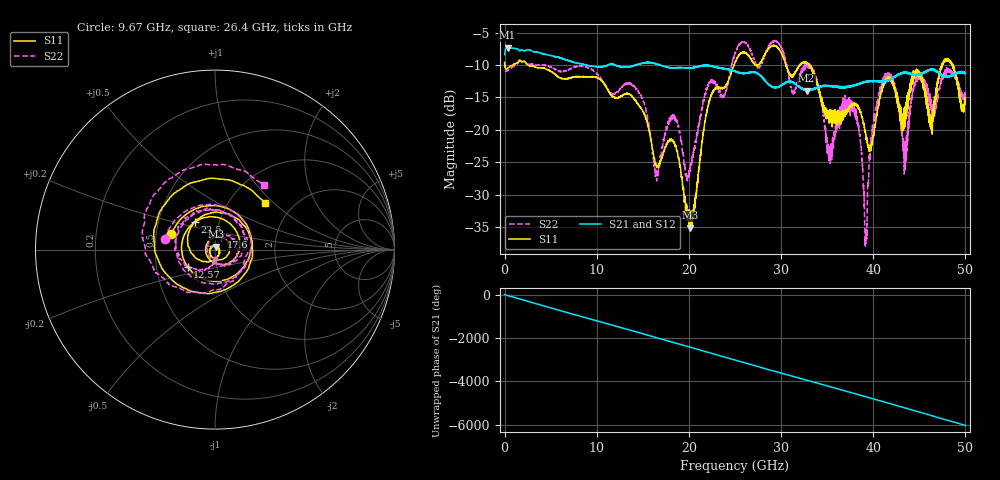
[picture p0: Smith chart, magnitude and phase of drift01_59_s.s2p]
!Created with skrf (http://scikit-rf.org).
# Hz S RI R 50.0
!freq ReS11 ImS11 ReS21 ImS21 ReS12 ImS12 ReS22 ImS22
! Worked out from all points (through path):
!   10001 points, 300 kHz to 50 GHz, reference 50 ohm
!   highest |S21| = -7.32 dB at 325.3 MHz (marker M1); lowest = -13.9 dB at 32.77 GHz (marker M2)
!   group delay of S21, straight-line fit = 335 ps
!   lowest |S11| = -35.1 dB at 20.15 GHz (marker M3), VSWR 1.04, Z = 50.7 + j1.64 ohm
!   |S11| at or under -10 dB: 2.558 GHz to 24.9 GHz (22.34 GHz wide, 163 % of centre); 30.53 GHz to 32.02 GHz (1.487 GHz wide, 4.75 % of centre); 33.08 GHz to 47.45 GHz (14.38 GHz wide, 35.7 % of centre) (the widest 3 of 17)
!   |S22| runs from -37.9 to -6.2 dB; largest |S21 - S12| = 0.0095
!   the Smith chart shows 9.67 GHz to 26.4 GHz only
!   S11 on the Smith chart (normalised r, x): 9.67 GHz: 0.60, +0.11; 12.57 GHz: 0.72, -0.15; 17.6 GHz: 1.06, +0.15; 22.5 GHz: 0.76, +0.24; 26.4 GHz: 1.46, +0.88
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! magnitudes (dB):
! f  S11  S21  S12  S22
! 300 kHz  -9.6  -8.4  -8.5  -9.6
! 325.3 MHz  -10.5  -7.3  -7.3  -10.9
! 8.335 GHz  -11.8  -9.8  -9.8  -10.2
! 9.67 GHz  -11.8  -10.2  -10.2  -10.9
! 12.57 GHz  -14.8  -10.3  -10.3  -13.6
! 16.67 GHz  -25.7  -9.9  -9.9  -26.8
! 17.6 GHz  -22.1  -10.3  -10.3  -19.7
! 20.15 GHz  -35.1  -10.5  -10.5  -25.8
! 22.5 GHz  -14.4  -10.2  -10.2  -12.5
! 25 GHz  -9.6  -11.0  -11.0  -8.2
! 26.4 GHz  -8.4  -11.2  -11.2  -6.9
! 32.77 GHz  -9.7  -13.9  -13.9  -10.0
! 33.34 GHz  -10.8  -13.8  -13.7  -10.6
! 35.27 GHz  -18.0  -13.2  -13.2  -22.9
! 37.99 GHz  -15.9  -13.1  -13.1  -17.2
! 39.18 GHz  -20.5  -12.6  -12.6  -36.8
! 40.12 GHz  -20.0  -12.5  -12.4  -17.9
! 41.67 GHz  -11.8  -12.2  -12.3  -12.0
! 43.45 GHz  -18.0  -11.3  -11.3  -24.5
! 44.87 GHz  -10.8  -11.5  -11.5  -11.9
! 46.25 GHz  -18.9  -10.7  -10.7  -15.8
! 50 GHz  -15.6  -11.3  -11.2  -15.1
